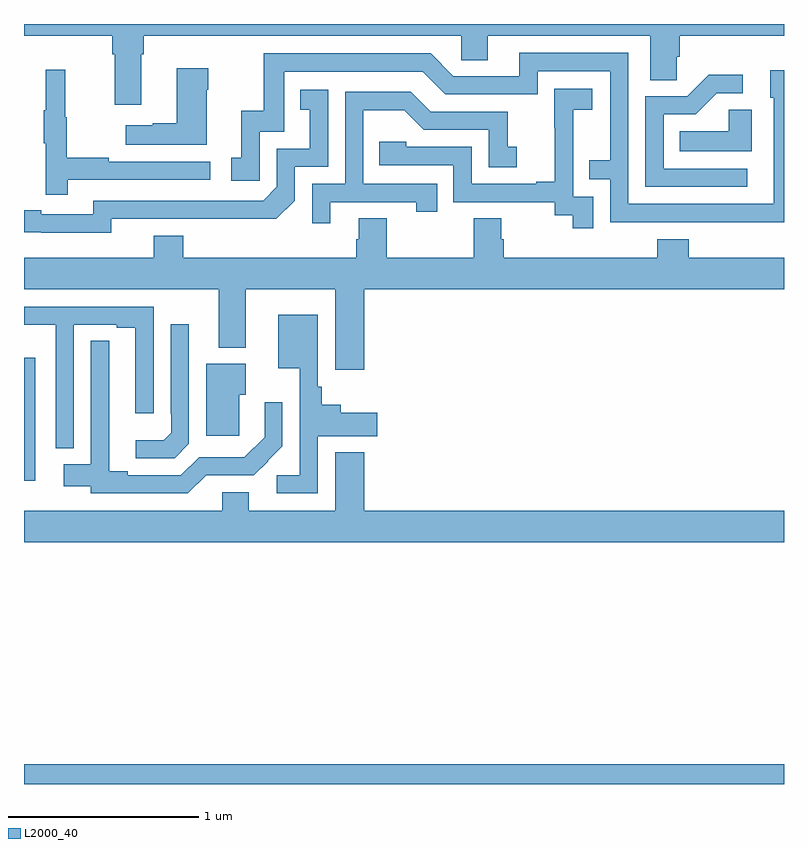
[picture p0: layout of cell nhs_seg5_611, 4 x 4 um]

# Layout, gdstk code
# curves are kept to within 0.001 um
import gdstk
lib = gdstk.Library(unit=1e-6, precision=1e-09)
def R(c, l, rs):  # rectangles x0, y0, x1, y1
    for r in rs: c.add(gdstk.rectangle(r[:2], r[2:], *l))
def P(c, l, *ps):  # polygons
    for p in ps: c.add(gdstk.Polygon(p, *l))
L2000_40 = (2000, 40)

nhs_seg5_611 = lib.new_cell('nhs_seg5_611')
R(nhs_seg5_611, L2000_40, [(149,876.799,153,876.904), (149,878.394,149.058,879.043)])
P(nhs_seg5_611, L2000_40, [(149.617,880.64),(149.63,880.64),(149.63,880.736),(151.302,880.736),(151.302,880.609),(151.441,880.609),(151.441,880.736),(152.297,880.736),(152.297,880.504),(152.436,880.504),(152.436,880.627),(152.45,880.627),(152.45,880.736),(153,880.736),(153,880.799),(149,880.799),(149,880.736),(149.465,880.736),(149.465,880.64),(149.477,880.64),(149.477,880.374),(149.617,880.374)],
  [(153,880.555),(152.927,880.555),(152.927,880.41),(152.946,880.41),(152.946,879.852),(152.181,879.852),(152.181,880.647),(151.607,880.647),(151.607,880.524),(151.26,880.524),(151.14,880.644),(150.261,880.644),(150.261,880.342),(150.143,880.342),(150.143,880.095),(150.09,880.095),(150.09,879.975),(150.24,879.975),(150.24,880.233),(150.369,880.233),(150.369,880.548),(151.098,880.548),(151.218,880.428),(151.704,880.428),(151.704,880.551),(152.085,880.551),(152.085,880.082),(151.975,880.082),(151.975,879.981),(152.085,879.981),(152.085,879.756),(153,879.755)],
  [(149.962,880.454),(149.97,880.454),(149.97,880.567),(149.804,880.567),(149.804,880.277),(149.678,880.277),(149.678,880.267),(149.535,880.267),(149.535,880.163),(149.962,880.163)],
  [(149.231,879.978),(149.98,879.978),(149.98,880.074),(149.447,880.074),(149.447,880.094),(149.224,880.094),(149.224,880.308),(149.216,880.308),(149.216,880.558),(149.114,880.558),(149.114,880.345),(149.103,880.345),(149.103,880.171),(149.114,880.171),(149.114,879.9),(149.231,879.9)],
  [(152.806,880.038),(152.367,880.038),(152.367,880.323),(152.536,880.323),(152.647,880.434),(152.782,880.434),(152.782,880.532),(152.603,880.532),(152.49,880.419),(152.271,880.419),(152.271,879.942),(152.806,879.942)],
  [(151.995,879.891),(151.89,879.891),(151.89,880.121),(151.892,880.121),(151.892,880.349),(151.99,880.349),(151.99,880.459),(151.792,880.459),(151.792,880.253),(151.793,880.253),(151.793,879.97),(151.697,879.97),(151.697,879.957),(151.356,879.957),(151.356,880.152),(151.011,880.152),(151.011,880.179),(150.871,880.179),(150.871,880.056),(151.26,880.056),(151.26,879.861),(151.794,879.861),(151.794,879.793),(151.887,879.793),(151.887,879.723),(151.995,879.723)],
  [(149.46,879.774),(150.328,879.773),(150.426,879.87),(150.426,880.047),(150.6,880.047),(150.6,880.453),(150.454,880.453),(150.454,880.347),(150.503,880.347),(150.503,880.143),(150.33,880.143),(150.33,879.942),(150.258,879.87),(149.364,879.87),(149.364,879.798),(149.092,879.798),(149.092,879.818),(149,879.818),(149,879.702),(149.46,879.701)],
  [(150.613,879.861),(151.064,879.861),(151.064,879.81),(151.175,879.81),(151.175,879.957),(150.786,879.957),(150.786,880.346),(151,880.346),(151.104,880.242),(151.446,880.242),(151.446,880.044),(151.594,880.044),(151.594,880.153),(151.545,880.153),(151.545,880.338),(151.141,880.338),(151.036,880.443),(150.69,880.443),(150.69,879.957),(150.516,879.957),(150.516,879.75),(150.613,879.75)],
  [(152.83,880.349),(152.709,880.349),(152.709,880.234),(152.452,880.234),(152.452,880.13),(152.83,880.13)],
  [(150.791,879.404),(153,879.404),(153,879.568),(152.498,879.568),(152.498,879.667),(152.333,879.667),(152.333,879.568),(151.526,879.568),(151.526,879.666),(151.513,879.666),(151.513,879.776),(151.366,879.776),(151.366,879.568),(150.909,879.568),(150.909,879.776),(150.761,879.776),(150.761,879.666),(150.749,879.666),(150.749,879.568),(149.837,879.568),(149.837,879.685),(149.684,879.685),(149.684,879.568),(149,879.568),(149,879.404),(150.026,879.404),(150.026,879.095),(150.166,879.095),(150.166,879.404),(150.638,879.404),(150.638,878.979),(150.791,878.979)],
  [(149.262,879.216),(149.489,879.216),(149.489,879.201),(149.585,879.201),(149.585,878.751),(149.682,878.751),(149.682,879.312),(149,879.312),(149,879.215),(149.166,879.215),(149.166,878.567),(149.262,878.567)],
  [(150.546,878.63),(150.859,878.63),(150.859,878.752),(150.667,878.752),(150.667,878.794),(150.566,878.794),(150.566,878.89),(150.546,878.89),(150.546,879.268),(150.338,879.268),(150.338,878.987),(150.45,878.987),(150.45,878.424),(150.33,878.424),(150.33,878.328),(150.546,878.328)],
  [(149.868,878.589),(149.868,879.22),(149.772,879.22),(149.772,878.749),(149.775,878.749),(149.775,878.649),(149.735,878.609),(149.589,878.609),(149.589,878.514),(149.793,878.514)],
  [(149.959,878.424),(150.21,878.424),(150.36,878.576),(150.36,878.809),(150.266,878.809),(150.266,878.624),(150.16,878.518),(150.058,878.518),(150.058,878.52),(149.922,878.52),(149.826,878.424),(149.545,878.424),(149.545,878.444),(149.449,878.444),(149.448,879.131),(149.352,879.131),(149.352,878.482),(149.208,878.482),(149.208,878.366),(149.352,878.366),(149.352,878.328),(149.863,878.328)],
  [(150.133,878.849),(150.166,878.849),(150.166,879.01),(149.96,879.01),(149.96,878.631),(150.133,878.631)],
  [(153,878.236),(150.791,878.236),(150.791,878.545),(150.638,878.545),(150.638,878.236),(150.184,878.236),(150.184,878.335),(150.044,878.335),(150.044,878.236),(149,878.236),(149,878.072),(153,878.072)])

lib.write_gds('nhs_seg5_611.gds')
